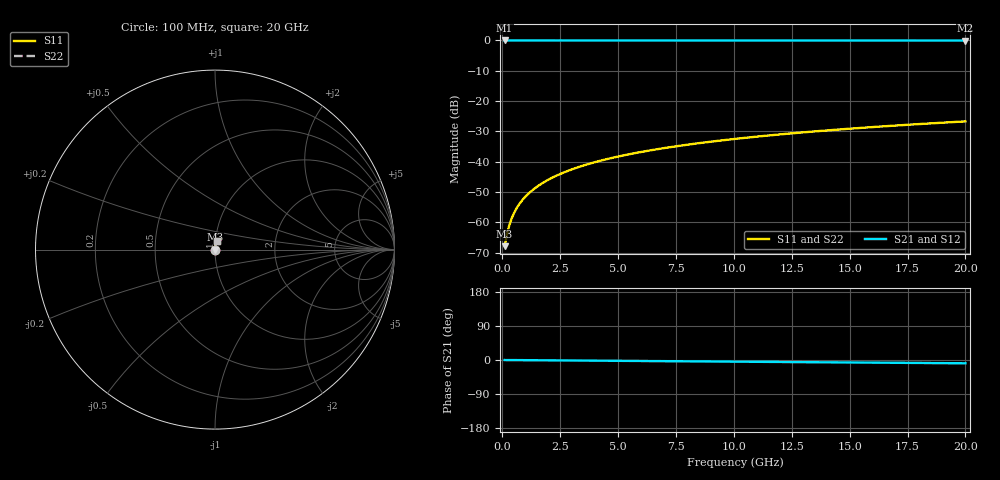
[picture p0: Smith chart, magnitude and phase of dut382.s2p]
! Touchstone file exported from HFSS 2026.1.0
!  File:  C:/ffzhzh/LocalFiles/Ansys_Project_Files/temp_train_TSV_382_1783019811_53980.aedt
!  Generated:  03:19:07 AM Jul  3, 2026
!  Design:  TSV
!  Project:  temp_train_TSV_382_1783019811_53980
! Variables:
!  h_bsmrdl = 2um
!  h_ox = 20um
!  h_rdl = 5um
!  h_sub = 83.18um
!  h_tmrdl = 5um
!  h_tsv = 83.18um
!  h_via = 3um
!  l_bsmrdl = 300um
!  l_sub = 412.18um
!  l_tmrdl = 200um
!  m_sub = 200um
!  pitch = 37.87um
!  r_tsv = 6.09um
!  s_tmrdl = 10um
!  w_bsmrdl = 18um
!  w_sub = 500um
!  w_tmrdl = 12um
!  x_tsv_center1 = 206um
!  x_tsv_center2 = 524um
!  x_tsv_center3 = 736um
!  x_tsv_center4 = 1054um
!  x_tsv_center5 = 1266um
!  x_tsv_center6 = 1584um
# GHz S MA R 50.000000
! Terminal data exported
! Port[1] = TSV1_1_T1
! Port[2] = TSV1_1_T2
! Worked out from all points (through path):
!   200 points, 100 MHz to 20 GHz, reference 50 ohm
!   highest |S21| = 0.00 dB at 100 MHz (marker M1); lowest = 0.0 dB at 20 GHz (marker M2)
!   group delay of S21, straight-line fit = 1.2 ps
!   lowest |S11| = -67.9 dB at 100 MHz (marker M3), VSWR 1.00, Z = 50 + j0.0278 ohm
!   |S11| at or under -10 dB: start of sweep to end of sweep
!   |S22| runs from -67.9 to -26.7 dB; largest |S21 - S12| = 4.4e-15
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0.1  0.000403 43.6  0.9997 -0.0  0.9997 -0.0  0.000403 43.6
! Gamma 0 0 0 0
! Port Impedance 50 0 50 0
0.2  0.0006311 61.3  0.9997 -0.1  0.9997 -0.1  0.0006311 61.3
0.3  0.0008853 68.8  0.9997 -0.1  0.9997 -0.1  0.0008853 68.8
0.4  0.001144 72.6  0.9997 -0.2  0.9997 -0.2  0.001144 72.6
0.5  0.001403 74.9  0.9996 -0.2  0.9996 -0.2  0.001403 74.9
0.6  0.001658 76.4  0.9996 -0.3  0.9996 -0.3  0.001658 76.4
0.7  0.00191 77.4  0.9996 -0.3  0.9996 -0.3  0.00191 77.4
0.8  0.002159 78.2  0.9996 -0.4  0.9996 -0.4  0.002159 78.2
1  0.002651 79.4  0.9995 -0.4  0.9995 -0.4  0.002651 79.4
1.4  0.003621 80.9  0.9995 -0.6  0.9995 -0.6  0.003621 80.9
1.7  0.004342 81.6  0.9994 -0.8  0.9994 -0.8  0.004342 81.6
2  0.005062 82.1  0.9994 -0.9  0.9994 -0.9  0.005062 82.1
2.7  0.006733 82.8  0.9993 -1.2  0.9993 -1.2  0.006733 82.8
3.5  0.008629 83.2  0.9992 -1.5  0.9992 -1.5  0.008629 83.2
4.2  0.01028 83.3  0.9991 -1.8  0.9991 -1.8  0.01028 83.3
5  0.01214 83.3  0.999 -2.2  0.999 -2.2  0.01214 83.3
6.8  0.01631 83.1  0.9987 -3.0  0.9987 -3.0  0.01631 83.1
8.3  0.01975 82.8  0.9986 -3.6  0.9986 -3.6  0.01975 82.8
10.1  0.02386 82.3  0.9984 -4.4  0.9984 -4.4  0.02386 82.3
13.4  0.03136 81.3  0.998 -5.8  0.998 -5.8  0.03136 81.3
16.7  0.03881 80.2  0.9975 -7.2  0.9975 -7.2  0.03881 80.2
20  0.04618 79.0  0.997 -8.7  0.997 -8.7  0.04618 79.0
